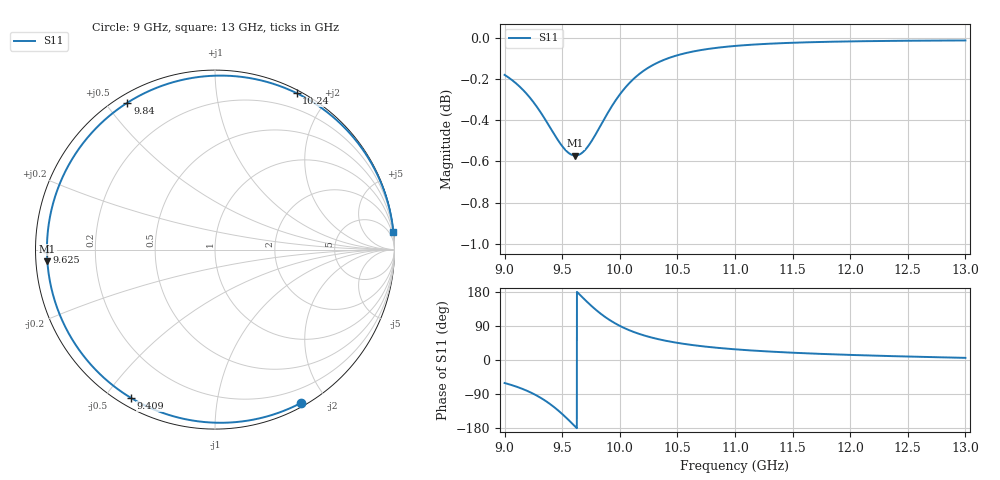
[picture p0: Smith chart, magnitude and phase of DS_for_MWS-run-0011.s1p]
! TOUCHSTONE file generated by CST DESIGN STUDIO
! Date and time: Tue Feb  4 16:01:49 2025
! Project name: C:\Work\MatlabApps\UnitCellOptimizationMatlab\CST\unitcell.cst
! Tree item: Tasks\Sweep1\SPara1\S-Parameters
! Header version: 2024
! Port assignment regex: !\s*Touchstone port\s*([0-9]+)\s*=\s*(CST MWS port|CST DES external port|CST DES block port)\s*(.+)\s* \(\"(.*)\"\)(\s*mode\s*([0-9]+))?.*
! Touchstone port assignment:
! Touchstone port 1 = CST DES external port 1 ("")
# GHz S MA R 50
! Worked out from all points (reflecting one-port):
!   4001 points, 9 GHz to 13 GHz, reference 50 ohm
!   lowest |S11| = -0.6 dB at 9.614 GHz (marker M1), VSWR 30.42, Z = 1.65 - j1.76 ohm
!   phase of S11 starts at -61 deg and turns -294 deg over the sweep
!   S11 on the Smith chart (normalised r, x): 9 GHz: 0.04, -1.71; 9.409 GHz: 0.03, -0.58; 9.625 GHz: 0.03, -0.01; 9.84 GHz: 0.03, +0.57; 10.24 GHz: 0.03, +1.65; 13 GHz: 0, +20
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9  0.9796 -60.7
9.056  0.9772 -65.7
9.129  0.9733 -73.2
9.192  0.9692 -80.9
9.254  0.9645 -89.9
9.337  0.957 -104.3
9.409  0.9498 -119.5
9.455  0.9452 -130.6
9.5  0.9413 -142.5
9.56  0.9375 -159.7
9.614  0.9363 -176.0
9.625  0.9364 -179.3
9.67  0.9377 167.0
9.717  0.9406 153.1
9.779  0.9464 135.9
9.84  0.953 120.8
9.914  0.9609 105.1
10  0.9689 90.1
10.113  0.977 74.9
10.237  0.9831 62.5
10.359  0.9872 53.3
10.5  0.9904 45.2
10.72  0.9935 36.1
11  0.9956 28.2
11.5  0.9974 19.2
12  0.9981 13.4
12.5  0.9985 9.2
13  0.9987 5.7
